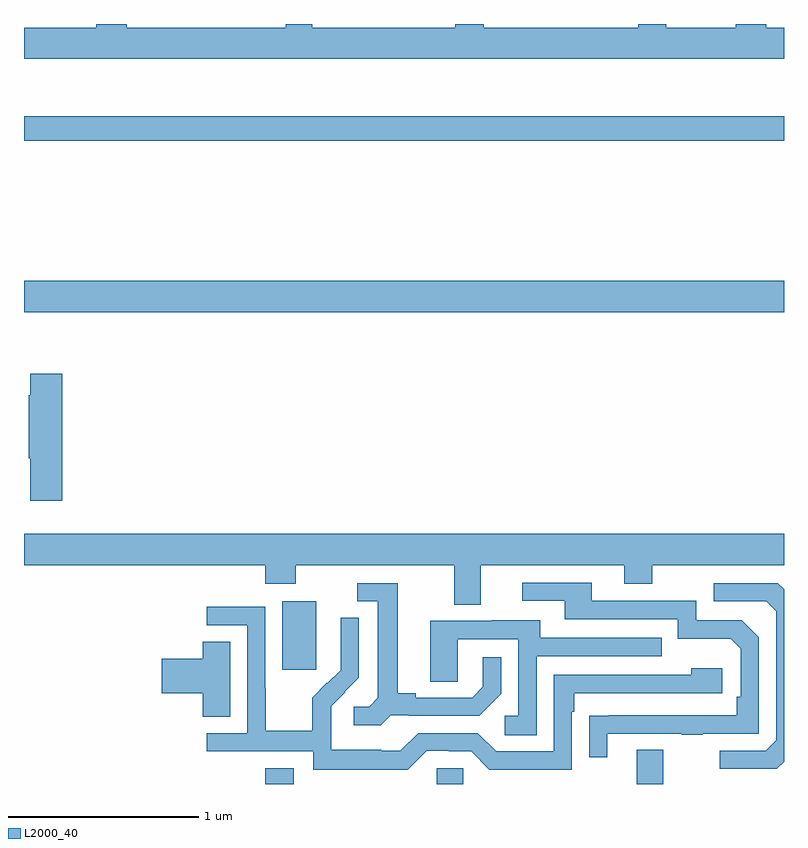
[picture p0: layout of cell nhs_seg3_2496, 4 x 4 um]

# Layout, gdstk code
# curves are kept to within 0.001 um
import gdstk
lib = gdstk.Library(unit=1e-6, precision=1e-09)
def R(c, l, rs):  # rectangles x0, y0, x1, y1
    for r in rs: c.add(gdstk.rectangle(r[:2], r[2:], *l))
def P(c, l, *ps):  # polygons
    for p in ps: c.add(gdstk.Polygon(p, *l))
L2000_40 = (2000, 40)

nhs_seg3_2496 = lib.new_cell('nhs_seg3_2496')
R(nhs_seg3_2496, L2000_40, [(240.269,730.4,240.421,730.483), (241.173,730.4,241.311,730.482), (242.225,730.4,242.365,730.579), (240.359,731.001,240.538,731.362), (239,732.884,243,733.048), (239,733.786,243,733.915)])
P(nhs_seg3_2496, L2000_40, [(240.377,734.4),(240.377,734.38),(239.541,734.38),(239.541,734.4),(239.381,734.4),(239.381,734.38),(239,734.38),(239,734.216),(243,734.216),(243,734.38),(242.906,734.38),(242.906,734.4),(242.746,734.4),(242.746,734.38),(242.379,734.38),(242.379,734.4),(242.232,734.4),(242.232,734.38),(241.419,734.38),(241.419,734.4),(241.271,734.4),(241.271,734.38),(240.517,734.38),(240.517,734.4)],
  [(239.201,732.559),(239.033,732.559),(239.033,732.446),(239.026,732.446),(239.026,732.115),(239.033,732.115),(239.033,731.892),(239.201,731.892)],
  [(239,731.552),(240.269,731.552),(240.269,731.453),(240.429,731.453),(240.429,731.552),(241.265,731.552),(241.265,731.344),(241.405,731.344),(241.405,731.552),(242.159,731.552),(242.159,731.453),(242.307,731.453),(242.307,731.552),(243,731.552),(243,731.716),(239,731.716)],
  [(242.071,730.665),(242.461,730.665),(242.461,730.66),(242.573,730.66),(242.573,730.665),(242.868,730.665),(242.868,731.172),(242.778,731.262),(242.538,731.262),(242.538,731.364),(241.987,731.364),(241.987,731.46),(241.623,731.46),(241.623,731.364),(241.847,731.364),(241.847,731.268),(242.442,731.268),(242.442,731.165),(242.719,731.165),(242.772,731.112),(242.772,730.858),(242.752,730.858),(242.752,730.761),(241.975,730.76),(241.975,730.542),(242.071,730.542)],
  [(240.93,730.761),(241.024,730.761),(241.024,730.758),(241.396,730.758),(241.512,730.874),(241.512,731.068),(241.415,731.068),(241.415,730.911),(241.358,730.854),(241.063,730.854),(241.063,730.877),(240.967,730.877),(240.967,731.457),(240.753,731.457),(240.753,731.361),(240.863,731.361),(240.863,730.853),(240.816,730.806),(240.735,730.806),(240.735,730.709),(240.878,730.709)],
  [(243,730.518),(243,731.424),(242.967,731.457),(242.631,731.457),(242.631,731.361),(242.907,731.361),(242.958,731.31),(242.958,730.629),(242.904,730.575),(242.661,730.575),(242.661,730.479),(242.961,730.479)],
  [(241.119,730.575),(241.235,730.575),(241.235,730.572),(241.353,730.572),(241.449,730.476),(241.884,730.476),(241.884,730.781),(241.897,730.781),(241.897,730.878),(242.674,730.878),(242.674,731.008),(242.513,731.008),(242.513,730.974),(241.788,730.974),(241.788,730.572),(241.485,730.572),(241.389,730.668),(241.074,730.668),(240.981,730.575),(240.881,730.575),(240.881,730.579),(240.618,730.579),(240.618,730.713),(240.616,730.713),(240.616,730.81),(240.762,730.958),(240.762,731.276),(240.666,731.276),(240.666,731.122),(240.668,731.122),(240.668,731),(240.597,730.929),(240.594,730.932),(240.517,730.855),(240.517,730.681),(240.273,730.681),(240.273,730.904),(240.27,730.904),(240.27,731.334),(239.961,731.334),(239.961,731.235),(240.174,731.235),(240.174,730.668),(239.961,730.668),(239.961,730.572),(240.522,730.572),(240.522,730.475),(241.019,730.475)],
  [(241.698,731.073),(242.357,731.073),(242.357,731.169),(241.717,731.169),(241.717,731.263),(241.463,731.263),(241.463,731.259),(241.139,731.259),(241.139,730.939),(241.284,730.939),(241.284,731.163),(241.602,731.163),(241.602,730.758),(241.53,730.758),(241.53,730.657),(241.698,730.657)],
  [(240.085,731.15),(239.942,731.15),(239.942,731.06),(239.724,731.06),(239.724,730.877),(239.942,730.877),(239.942,730.753),(240.085,730.753)])

lib.write_gds('nhs_seg3_2496.gds')
